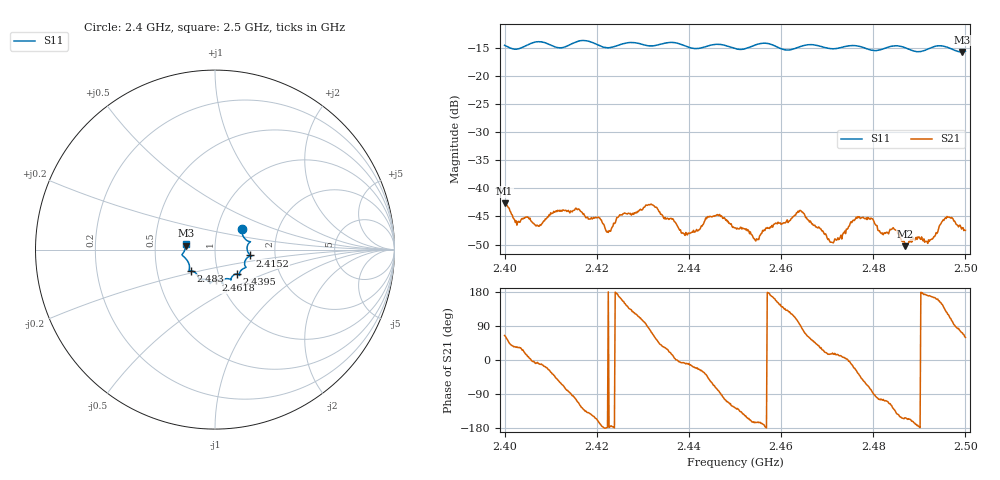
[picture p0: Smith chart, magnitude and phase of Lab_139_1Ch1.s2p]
# Hz S RI R 50
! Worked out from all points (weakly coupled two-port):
!   601 points, 2.4 GHz to 2.5 GHz, reference 50 ohm
!   highest |S21| = -42.67 dB at 2.4 GHz (marker M1); lowest = -50.3 dB at 2.487 GHz (marker M2)
!   lowest |S11| = -15.7 dB at 2.4993 GHz (marker M3), VSWR 1.39, Z = 36 + j1.58 ohm
!   |S11| at or under -10 dB: start of sweep to end of sweep
!   S12 and S22 are empty: the file has one direction only
!   S11 on the Smith chart (normalised r, x): 2.4 GHz: 1.31, +0.31; 2.4152 GHz: 1.48, -0.10; 2.4395 GHz: 1.23, -0.34; 2.4618 GHz: 0.95, -0.33; 2.483 GHz: 0.74, -0.18; 2.5 GHz: 0.72, +0.05
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2.4e9  0.1502 0.1131  0.00314 0.00665  0 0  0 0
2.407e9  0.1973 0.0442  0.00467 -0.000582  0 0  0 0
2.415167e9  0.1963 -0.0324  -0.00101 -0.00632  0 0  0 0
2.416667e9  0.2039 -0.0375  -0.00355 -0.00507  0 0  0 0
2.4225e9  0.1668 -0.0643  -0.00405 1.21e-05  0 0  0 0
2.4255e9  0.1691 -0.0935  -0.00537 0.00217  0 0  0 0
2.433333e9  0.137 -0.1317  0.00433 0.00477  0 0  0 0
2.4395e9  0.1239 -0.1354  0.00384 -0.000596  0 0  0 0
2.446167e9  0.0894 -0.1698  0.00123 -0.00572  0 0  0 0
2.45e9  0.0695 -0.1618  -0.00264 -0.00359  0 0  0 0
2.454667e9  0.0396 -0.1868  -0.00343 -0.000952  0 0  0 0
2.461833e9  0.00393 -0.171  -0.00312 0.00409  0 0  0 0
2.466667e9  -0.0263 -0.1887  0.00288 0.00387  0 0  0 0
2.471e9  -0.0494 -0.168  0.00318 0.000925  0 0  0 0
2.476667e9  -0.0894 -0.1623  0.0046 -0.00321  0 0  0 0
2.483e9  -0.1355 -0.1181  -0.00132 -0.00385  0 0  0 0
2.483333e9  -0.1382 -0.118  -0.00156 -0.00361  0 0  0 0
2.487e9  -0.1427 -0.1071  -0.00272 -0.0014  0 0  0 0
2.492333e9  -0.173 -0.0399  -0.00342 0.000669  0 0  0 0
2.496e9  -0.1799 -0.0227  -0.00326 0.00458  0 0  0 0
2.499333e9  -0.1629 0.0214  0.00138 0.00424  0 0  0 0
2.5e9  -0.163 0.0333  0.00214 0.00365  0 0  0 0
